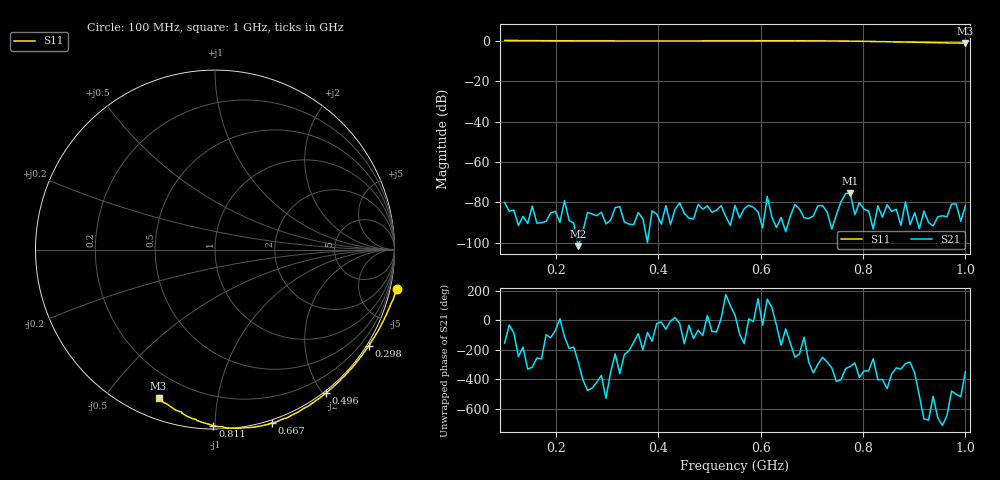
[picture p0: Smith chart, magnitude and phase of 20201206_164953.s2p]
# HZ S RI R 50
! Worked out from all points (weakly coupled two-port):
!   101 points, 100 MHz to 1 GHz, reference 50 ohm
!   highest |S21| = -75.31 dB at 775 MHz (marker M1); lowest = -101.8 dB at 244 MHz (marker M2)
!   lowest |S11| = -1.1 dB at 1 GHz (marker M3), VSWR 16.45, Z = 4.48 - j34.3 ohm
!   |S11| at or under -10 dB: nowhere
!   S12 and S22 are empty: the file has one direction only
!   S11 on the Smith chart (normalised r, x): 100 MHz: -1.53, -9.09; 298 MHz: -0.07, -3.48; 496 MHz: -0.03, -2.04; 667 MHz: -0.02, -1.38; 811 MHz: 0.02, -0.99; 1 GHz: 0.09, -0.69
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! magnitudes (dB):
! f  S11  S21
! 100 MHz  0.3  -80.2
! 208 MHz  0.2  -89.9
! 217 MHz  0.1  -79.2
! 226 MHz  0.1  -89.0
! 244 MHz  0.1  -101.8
! 253 MHz  0.1  -94.3
! 298 MHz  0.1  -90.7
! 406 MHz  0.1  -90.8
! 496 MHz  0.1  -81.8
! 550 MHz  0.1  -81.5
! 604 MHz  0.1  -92.8
! 613 MHz  0.1  -77.1
! 622 MHz  0.2  -87.3
! 667 MHz  0.1  -81.1
! 703 MHz  0.1  -86.8
! 757 MHz  0.0  -79.8
! 766 MHz  0.0  -75.7
! 775 MHz  0.0  -75.3
! 784 MHz  -0.1  -86.2
! 811 MHz  -0.2  -84.3
! 856 MHz  -0.4  -84.6
! 1 GHz  -1.1  -81.8
